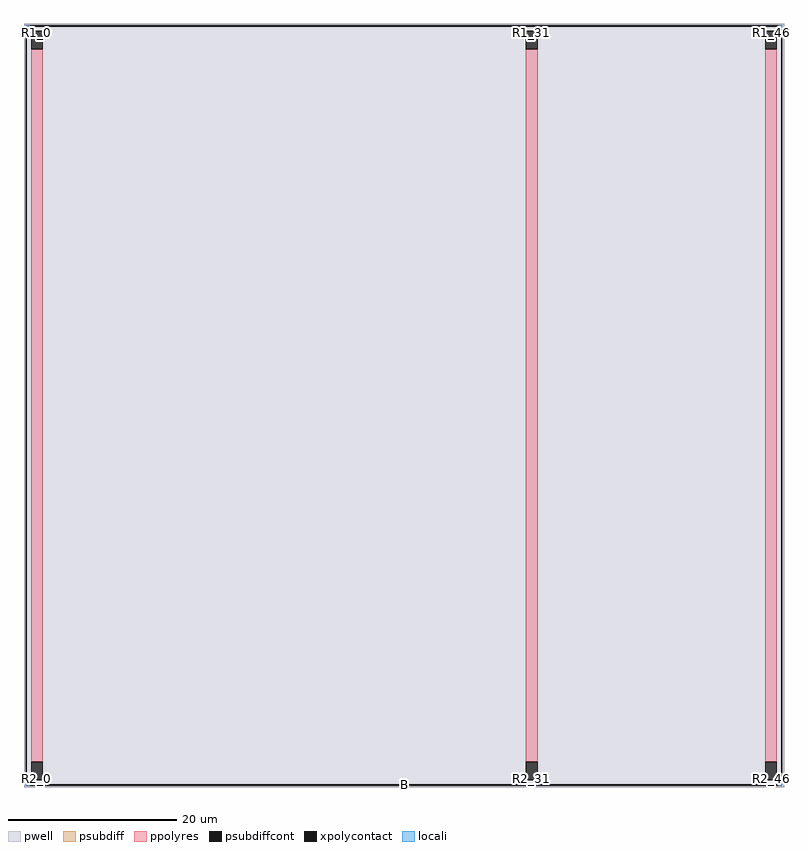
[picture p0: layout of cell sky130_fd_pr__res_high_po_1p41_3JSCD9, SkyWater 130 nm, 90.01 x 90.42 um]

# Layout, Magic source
magic
tech sky130A
magscale 1 2
<< pwell >>
rect -9001 -9042 9001 9042
<< psubdiff >>
rect -8965 8972 -8869 9006
rect 8869 8972 8965 9006
rect -8965 8910 -8931 8972
rect 8931 8910 8965 8972
rect -8965 -8972 -8931 -8910
rect 8931 -8972 8965 -8910
rect -8965 -9006 -8869 -8972
rect 8869 -9006 8965 -8972
<< psubdiffcont >>
rect -8869 8972 8869 9006
rect -8965 -8910 -8931 8910
rect 8931 -8910 8965 8910
rect -8869 -9006 8869 -8972
<< xpolycontact >>
rect -8835 8444 -8553 8876
rect -8835 -8876 -8553 -8444
rect 2883 8444 3165 8876
rect 2883 -8876 3165 -8444
rect 8553 8444 8835 8876
rect 8553 -8876 8835 -8444
<< ppolyres >>
rect -8835 -8444 -8553 8444
rect 2883 -8444 3165 8444
rect 8553 -8444 8835 8444
<< locali >>
rect -8965 8972 -8869 9006
rect 8869 8972 8965 9006
rect -8965 8910 -8931 8972
rect 8931 8910 8965 8972
rect -8965 -8972 -8931 -8910
rect 8931 -8972 8965 -8910
rect -8965 -9006 -8869 -8972
rect 8869 -9006 8965 -8972
<< labels >>
rlabel psubdiffcont 0 -8989 0 -8989 0 B
port 1 nsew
rlabel xpolycontact -8694 8841 -8694 8841 0 R1_0
port 2 nsew
rlabel xpolycontact -8694 -8841 -8694 -8841 0 R2_0
port 3 nsew
rlabel xpolycontact 3024 8841 3024 8841 0 R1_31
port 64 nsew
rlabel xpolycontact 3024 -8841 3024 -8841 0 R2_31
port 65 nsew
rlabel xpolycontact 8694 8841 8694 8841 0 R1_46
port 94 nsew
rlabel xpolycontact 8694 -8841 8694 -8841 0 R2_46
port 95 nsew
<< properties >>
string FIXED_BBOX -8948 -8989 8948 8989
string gencell sky130_fd_pr__res_high_po_1p41
string library sky130
string parameters w 1.410 l 84.6 m 1 nx 47 wmin 1.410 lmin 0.50 class resistor rho 319.8 val 19.464k dummy 0 dw 0.0 term 194.82 sterm 0.0 caplen 0 guard 1 glc 1 grc 1 gtc 1 gbc 1 compatible {sky130_fd_pr__res_high_po_0p35  sky130_fd_pr__res_high_po_0p69 sky130_fd_pr__res_high_po_1p41  sky130_fd_pr__res_high_po_2p85 sky130_fd_pr__res_high_po_5p73} snake 0 full_metal 1 wmax 1.410 n_guard 0 hv_guard 0 vias 0 viagb 0 viagt 0 viagl 0 viagr 0 doports 1
<< end >>
